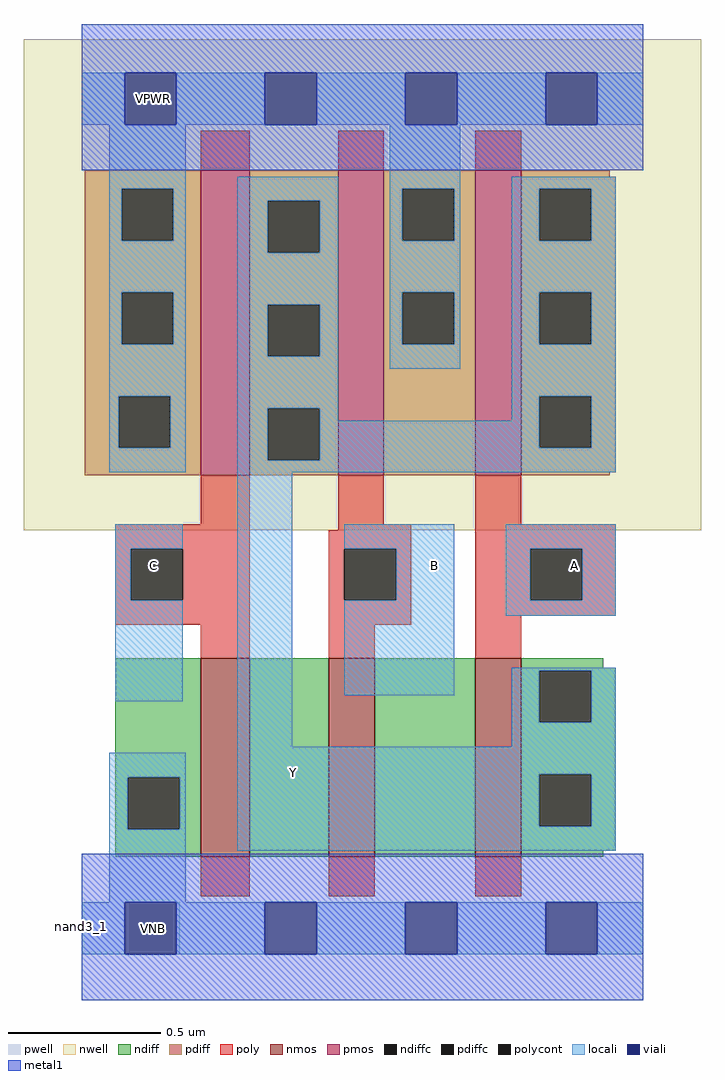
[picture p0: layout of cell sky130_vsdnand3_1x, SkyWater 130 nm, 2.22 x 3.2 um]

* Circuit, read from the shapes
.subckt sky130_vsdnand3_1x A B C VGND VNB VPB VPWR Y
XM1 n1 C VGND VNB sky130_fd_pr__nfet_01v8 w=0.65 l=0.16
XM2 n2 B n1 VNB sky130_fd_pr__nfet_01v8 w=0.65 l=0.15
XM3 Y A n2 VNB sky130_fd_pr__nfet_01v8 w=0.65 l=0.15
XM4 Y C VPWR VPB sky130_fd_pr__pfet_01v8 w=1 l=0.16
XM5 VPWR B Y VPB sky130_fd_pr__pfet_01v8 w=1 l=0.15
XM6 Y A VPWR VPB sky130_fd_pr__pfet_01v8 w=1 l=0.15
.ends

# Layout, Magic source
magic
tech sky130A
<< nwell >>
rect -19 130 203 291
<< pwell >>
rect 15 -9 32 8
<< nmos >>
rect 39 23 55 88
rect 81 23 96 88
rect 129 23 144 88
<< pmos >>
rect 39 148 55 248
rect 84 148 99 248
rect 129 148 144 248
<< ndiff >>
rect 11 49 39 88
rect 11 32 15 49
rect 32 32 39 49
rect 11 23 39 32
rect 55 23 81 88
rect 96 23 129 88
rect 144 85 171 88
rect 144 84 175 85
rect 144 67 150 84
rect 167 67 175 84
rect 144 50 175 67
rect 144 33 150 50
rect 167 33 175 50
rect 144 25 175 33
rect 144 23 171 25
<< pdiff >>
rect 1 242 39 248
rect 1 225 13 242
rect 30 225 39 242
rect 1 208 39 225
rect 1 191 13 208
rect 30 191 39 208
rect 1 174 39 191
rect 1 157 12 174
rect 29 157 39 174
rect 1 148 39 157
rect 55 238 84 248
rect 55 221 61 238
rect 78 221 84 238
rect 55 204 84 221
rect 55 187 61 204
rect 78 187 84 204
rect 55 170 84 187
rect 55 153 61 170
rect 78 153 84 170
rect 55 148 84 153
rect 99 242 129 248
rect 99 225 105 242
rect 122 225 129 242
rect 99 208 129 225
rect 99 191 105 208
rect 122 191 129 208
rect 99 148 129 191
rect 144 246 173 248
rect 144 242 175 246
rect 144 225 150 242
rect 167 225 175 242
rect 144 208 175 225
rect 144 191 150 208
rect 167 191 175 208
rect 144 174 175 191
rect 144 157 150 174
rect 167 157 175 174
rect 144 149 175 157
rect 144 148 173 149
<< ndiffc >>
rect 15 32 32 49
rect 150 67 167 84
rect 150 33 167 50
<< pdiffc >>
rect 13 225 30 242
rect 13 191 30 208
rect 12 157 29 174
rect 61 221 78 238
rect 61 187 78 204
rect 61 153 78 170
rect 105 225 122 242
rect 105 191 122 208
rect 150 225 167 242
rect 150 191 167 208
rect 150 157 167 174
<< poly >>
rect 39 248 55 261
rect 84 248 99 261
rect 129 248 144 261
rect 39 132 55 148
rect 11 124 55 132
rect 84 132 99 148
rect 129 132 144 148
rect 84 130 108 132
rect 11 107 16 124
rect 33 107 55 124
rect 11 99 55 107
rect 39 88 55 99
rect 81 124 108 130
rect 81 107 86 124
rect 103 107 108 124
rect 81 99 108 107
rect 129 124 175 132
rect 129 107 147 124
rect 164 107 175 124
rect 129 102 175 107
rect 81 88 96 99
rect 129 88 144 102
rect 39 10 55 23
rect 81 10 96 23
rect 129 10 144 23
<< polycont >>
rect 16 107 33 124
rect 86 107 103 124
rect 147 107 164 124
<< locali >>
rect 0 263 14 280
rect 31 263 60 280
rect 77 263 106 280
rect 123 263 152 280
rect 169 263 184 280
rect 9 242 34 263
rect 9 225 13 242
rect 30 225 34 242
rect 9 208 34 225
rect 9 191 13 208
rect 30 191 34 208
rect 9 174 34 191
rect 9 157 12 174
rect 29 157 34 174
rect 9 149 34 157
rect 51 238 84 246
rect 51 221 61 238
rect 78 221 84 238
rect 51 204 84 221
rect 51 187 61 204
rect 78 187 84 204
rect 51 170 84 187
rect 101 242 124 263
rect 101 225 105 242
rect 122 225 124 242
rect 101 208 124 225
rect 101 191 105 208
rect 122 191 124 208
rect 101 183 124 191
rect 141 242 175 246
rect 141 225 150 242
rect 167 225 175 242
rect 141 208 175 225
rect 141 191 150 208
rect 167 191 175 208
rect 51 153 61 170
rect 78 166 84 170
rect 141 174 175 191
rect 141 166 150 174
rect 78 157 150 166
rect 167 157 175 174
rect 78 153 175 157
rect 51 149 175 153
rect 11 124 33 132
rect 11 107 16 124
rect 11 74 33 107
rect 51 59 69 149
rect 86 124 122 132
rect 103 107 122 124
rect 86 76 122 107
rect 139 124 175 132
rect 139 107 147 124
rect 164 107 175 124
rect 139 102 175 107
rect 141 84 175 85
rect 141 67 150 84
rect 167 67 175 84
rect 141 59 175 67
rect 9 49 34 57
rect 9 32 15 49
rect 32 32 34 49
rect 9 8 34 32
rect 51 50 175 59
rect 51 33 150 50
rect 167 33 175 50
rect 51 25 175 33
rect 0 -9 14 8
rect 31 -9 60 8
rect 77 -9 106 8
rect 123 -9 152 8
rect 169 -9 184 8
<< viali >>
rect 14 263 31 280
rect 60 263 77 280
rect 106 263 123 280
rect 152 263 169 280
rect 14 -9 31 8
rect 60 -9 77 8
rect 106 -9 123 8
rect 152 -9 169 8
<< metal1 >>
rect 0 280 184 296
rect 0 263 14 280
rect 31 263 60 280
rect 77 263 106 280
rect 123 263 152 280
rect 169 263 184 280
rect 0 248 184 263
rect 0 8 184 24
rect 0 -9 14 8
rect 31 -9 60 8
rect 77 -9 106 8
rect 123 -9 152 8
rect 169 -9 184 8
rect 0 -24 184 -9
<< labels >>
flabel locali s 61 42 78 59 0 FreeSans 125 0 0 0 Y
port 8 nsew signal output
flabel locali s 153 110 170 127 0 FreeSans 125 0 0 0 A
port 1 nsew signal input
flabel locali s 15 110 32 127 0 FreeSans 125 0 0 0 C
port 3 nsew signal input
flabel locali s 107 110 124 127 0 FreeSans 125 0 0 0 B
port 2 nsew signal input
flabel pwell s 15 -9 32 8 0 FreeSans 100 0 0 0 VNB
port 5 nsew ground bidirectional
flabel metal1 s 15 -9 32 8 0 FreeSans 100 0 0 0 VGND
port 4 nsew ground bidirectional abutment
flabel metal1 s 15 263 32 280 0 FreeSans 100 0 0 0 VPWR
port 7 nsew power bidirectional abutment
rlabel comment s 0 0 0 0 4 nand3_1
flabel nwell s 15 263 32 280 0 FreeSans 100 0 0 0 VPB
port 6 nsew power bidirectional
<< properties >>
string LEFclass CORE
string LEFsite unithd
string FIXED_BBOX 0 0 184 272
string LEFsymmetry X Y R90
string path 0.000 0.000 9.200 0.000 
<< end >>
